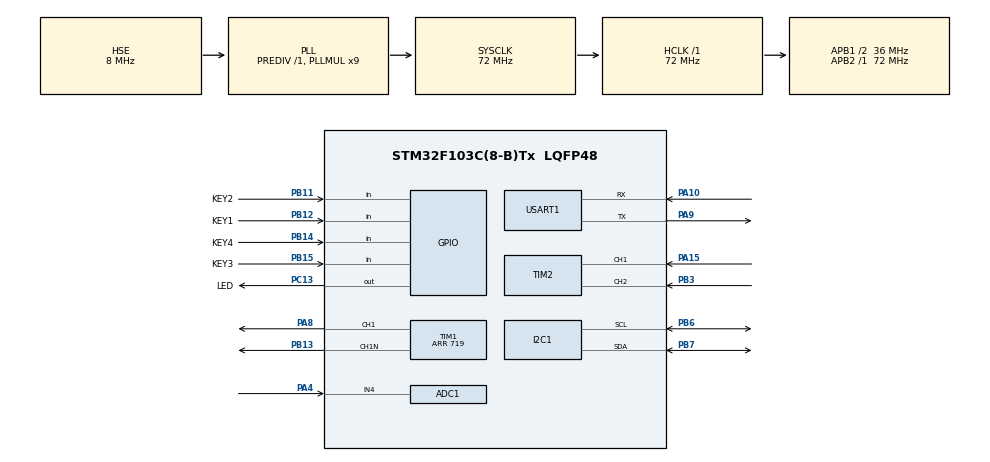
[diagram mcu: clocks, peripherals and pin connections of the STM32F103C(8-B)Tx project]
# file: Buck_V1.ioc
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ADC1.Channel-2\#ChannelRegularConversion=ADC_CHANNEL_4
ADC1.ExternalTrigConv=ADC_EXTERNALTRIGCONV_T1_CC3
ADC1.NbrOfConversionFlag=1
ADC1.Rank-2\#ChannelRegularConversion=1
ADC1.SamplingTime-2\#ChannelRegularConversion=ADC_SAMPLETIME_41CYCLES_5
ADC1.master=1
Dma.ADC1.0.Direction=DMA_PERIPH_TO_MEMORY
Dma.ADC1.0.Instance=DMA1_Channel1
Dma.ADC1.0.MemDataAlignment=DMA_MDATAALIGN_HALFWORD
Dma.ADC1.0.MemInc=DMA_MINC_ENABLE
Dma.ADC1.0.Mode=DMA_CIRCULAR
Dma.ADC1.0.PeriphDataAlignment=DMA_PDATAALIGN_HALFWORD
Dma.ADC1.0.PeriphInc=DMA_PINC_DISABLE
Dma.ADC1.0.Priority=DMA_PRIORITY_LOW
Dma.Request0=ADC1
I2C1.I2C_Mode=I2C_Fast
Mcu.Family=STM32F1
Mcu.Name=STM32F103C(8-B)Tx
Mcu.Package=LQFP48
NVIC.ADC1_2_IRQn=true\:0\:0\:false\:false\:true\:true\:true\:true
NVIC.DMA1_Channel1_IRQn=true\:0\:0\:false\:false\:true\:false\:true\:true
NVIC.PriorityGroup=NVIC_PRIORITYGROUP_4
NVIC.TIM3_IRQn=true\:0\:0\:false\:false\:true\:true\:true\:true
NVIC.TIM4_IRQn=true\:0\:0\:false\:false\:true\:true\:true\:true
NVIC.USART1_IRQn=true\:0\:0\:false\:false\:true\:true\:true\:true
PA10.Mode=Asynchronous
PA10.Signal=USART1_RX
PA13.Mode=Serial_Wire
PA13.Signal=SYS_JTMS-SWDIO
PA14.Mode=Serial_Wire
PA14.Signal=SYS_JTCK-SWCLK
PA15.Signal=S_TIM2_CH1_ETR
PA4.Signal=ADCx_IN4
PA8.Signal=S_TIM1_CH1
PA9.Mode=Asynchronous
PA9.Signal=USART1_TX
PB11.GPIO_Label=KEY2
PB11.GPIO_PuPd=GPIO_PULLUP
PB11.Signal=GPIO_Input
PB12.GPIO_Label=KEY1
PB12.GPIO_PuPd=GPIO_PULLUP
PB12.Signal=GPIO_Input
PB13.Mode=PWM Generation1 CH1 CH1N
PB13.Signal=TIM1_CH1N
PB14.GPIO_Label=KEY4
PB14.GPIO_PuPd=GPIO_PULLUP
PB14.Signal=GPIO_Input
PB15.GPIO_Label=KEY3
PB15.GPIO_PuPd=GPIO_PULLUP
PB15.Signal=GPIO_Input
PB3.Signal=S_TIM2_CH2
PB6.Mode=I2C
PB6.Signal=I2C1_SCL
PB7.Mode=I2C
PB7.Signal=I2C1_SDA
PC13-TAMPER-RTC.GPIO_Label=LED
PC13-TAMPER-RTC.Signal=GPIO_Output
PD0-OSC_IN.Mode=HSE-External-Oscillator
PD0-OSC_IN.Signal=RCC_OSC_IN
PD1-OSC_OUT.Mode=HSE-External-Oscillator
PD1-OSC_OUT.Signal=RCC_OSC_OUT
ProjectManager.HeapSize=0x200
ProjectManager.StackSize=0x400
ProjectManager.TargetToolchain=CMake
RCC.ADCPresc=RCC_ADCPCLK2_DIV6
RCC.AHBFreq_Value=72000000
RCC.APB1CLKDivider=RCC_HCLK_DIV2
RCC.APB1Freq_Value=36000000
RCC.APB1TimFreq_Value=72000000
RCC.APB2Freq_Value=72000000
RCC.APB2TimFreq_Value=72000000
RCC.HCLKFreq_Value=72000000
RCC.PLLMUL=RCC_PLL_MUL9
RCC.PLLSourceVirtual=RCC_PLLSOURCE_HSE
RCC.SYSCLKFreq_VALUE=72000000
RCC.SYSCLKSource=RCC_SYSCLKSOURCE_PLLCLK
RCC.USBFreq_Value=72000000
SH.ADCx_IN4.0=ADC1_IN4,IN4
SH.S_TIM1_CH1.0=TIM1_CH1,PWM Generation1 CH1 CH1N
SH.S_TIM2_CH1_ETR.0=TIM2_CH1,Encoder_Interface
SH.S_TIM2_CH2.0=TIM2_CH2,Encoder_Interface
TIM1.AutoReloadPreload=TIM_AUTORELOAD_PRELOAD_ENABLE
TIM1.Channel-PWM\ Generation1\ CH1\ CH1N=TIM_CHANNEL_1
TIM1.Channel-PWM\ Generation3\ No\ Output=TIM_CHANNEL_3
TIM1.DeadTime=8
TIM1.OCMode_PWM-PWM\ Generation3\ No\ Output=TIM_OCMODE_PWM2
TIM1.Period=719
TIM1.Pulse-PWM\ Generation1\ CH1\ CH1N=0
TIM1.Pulse-PWM\ Generation3\ No\ Output=1
TIM3.Period=9999
TIM3.Prescaler=71
TIM4.AutoReloadPreload=TIM_AUTORELOAD_PRELOAD_ENABLE
TIM4.Period=999
TIM4.Prescaler=71
USART1.VirtualMode=VM_ASYNC
VP_TIM1_VS_no_output3.Mode=PWM Generation3 No Output
VP_TIM3_VS_ClockSourceINT.Mode=Internal
VP_TIM4_VS_ClockSourceINT.Mode=Internal
board=custom

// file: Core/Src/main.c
/* USER CODE BEGIN Header */
/**
  ******************************************************************************
  * @file           : main.c
  * @brief          : Main program body
  ******************************************************************************
  * @attention
  *
  * Copyright (c) 2026 STMicroelectronics.
  * All rights reserved.
  *
  * This software is licensed under terms that can be found in the LICENSE file
  * in the root directory of this software component.
  * If no LICENSE file comes with this software, it is provided AS-IS.
  *
  ******************************************************************************
  */
/* USER CODE END Header */
#include "main.h"
#include "adc.h"
#include "dma.h"
#include "i2c.h"
#include "tim.h"
#include "usart.h"
#include "gpio.h"

/* USER CODE BEGIN Includes */
#include <math.h>

#include "oled.h"
#include "beep_led.h"
#include "key.h"
#include "encoder.h"
#include "buck_control.h"
#include "pid.h"
#include "blueSerial.h"

/* USER CODE END Includes */

/* USER CODE BEGIN PTD */
typedef enum {
  // 固定输出模式
  OUTPUT_MODE_PRESET,
  // 自定义输出模式
  OUTPUT_MODE_CUSTOM,
} SysOutState;

/* USER CODE END PTD */

/* USER CODE BEGIN PD */
/* 蓝牙滑杆ID定义 */
#define SLIDER_ID_TAR   1

/* USER CODE END PD */

/* USER CODE BEGIN PV */
int16_t encoderVlue;
float inputVoltage = 20.0f, voltageStep = 0.1f;
float currOut;

PID_t volt = {
  .Kp = 0.8f,
  .Ki = 0.05f,
  .Kd = 0.0f,

  .OutMax = 20.0f,
  .OutMin = 0.0f,
  .ErrorIntMax = 400.0f,
  .ErrorIntMin = 0.0f,
};

SysOutState sysMode = OUTPUT_MODE_CUSTOM;
// 0 表示旋钮控制 1 表示蓝牙滑杆控制
_Bool ctrlMode;

/* USER CODE END PV */

void SystemClock_Config(void);

/* USER CODE BEGIN 0 */
void oledProcess(void)
{
  if (volt.Target < 10.0f) {
    OLED_Printf(00, 28, OLED_8X16, "T:%-.2fV ", volt.Target);
  } else {
    OLED_Printf(00, 28, OLED_8X16, "T:%-.1fV ", volt.Target);
  }
  if (volt.Actual < 10.0f) {
    OLED_Printf(64, 28, OLED_8X16, "A:%-.2fV ", volt.Actual);
  } else {
    OLED_Printf(64, 28, OLED_8X16, "A:%-.1fV ", volt.Actual);
  }

  if (sysMode == OUTPUT_MODE_PRESET) {
    OLED_Printf(40, 00, OLED_8X16, "PRESET");
  } else if (sysMode == OUTPUT_MODE_CUSTOM) {
    OLED_Printf(40, 00, OLED_8X16, "CUSTOM");

    if (ctrlMode == 1) {
      OLED_Printf(00, 48, OLED_8X16, "Ctrl:BLE ");
    } else {
      OLED_Printf(00, 48, OLED_8X16, "Ctrl:KNOB");
    }
  }

  OLED_Update();
}

void keyProcess(void)
{
  if (Key_GetEvent(KEY1, KEY_EVENT_SINGLE)) {
    // 单击按键1
    sysMode = (SysOutState)((sysMode + 1) % 2);
    OLED_Clear();

    // 进入自定义输出模式 默认为旋钮控制
    if (sysMode == OUTPUT_MODE_CUSTOM) {
      ctrlMode = 0;
    } else if (sysMode == OUTPUT_MODE_PRESET) {
      volt.Target = 3.3f;
    }
  }

  if (Key_GetEvent(KEY2, KEY_EVENT_SINGLE)) {
    // 单击按键2
    if (sysMode == OUTPUT_MODE_PRESET) {
      volt.Target = 3.3f;
    }
  }

  if (Key_GetEvent(KEY3, KEY_EVENT_SINGLE)) {
    // 单击按键3
    if (sysMode == OUTPUT_MODE_PRESET) {
      volt.Target = 5.0f;
    }
  }

  if (Key_GetEvent(KEY4, KEY_EVENT_SINGLE)) {
    // 单击按键4
    if (sysMode == OUTPUT_MODE_PRESET) {
      volt.Target = 12.0f;
    } else if (sysMode == OUTPUT_MODE_CUSTOM) {
      ctrlMode = !ctrlMode;
    }
  }
}

void btProcess(void)
{
  BlueSerial_Packet_t packet;

  /* 读取并处理蓝牙数据包 */
  if (BlueSerial_GetPacket(&packet)) {
    if (packet.type == PACKET_SLIDER) {
      switch (packet.data.slider.id) {
        case SLIDER_ID_TAR:
          if (sysMode == OUTPUT_MODE_CUSTOM) {
            if (ctrlMode == 1) {
              volt.Target = packet.data.slider.value;
            }
          }
          break;

        default:
          break;
      }
    }
  }

  /* 每50ms发送一次plot数据 */
  static uint32_t btTick = 0;
  if (uwTick - btTick >= 50) {
    btTick = uwTick;
    BlueSerial_Printf("[plot,%.3f,%.3f]",
                      volt.Target, volt.Actual);
  }
}

void sysProcess(void)
{
  static _Bool ledState = 0, PLEDState = 1;

  encoderVlue = Encoder_GetCount();

  if (sysMode == OUTPUT_MODE_CUSTOM) {
    if (ctrlMode == 0) {
      volt.Target = encoderVlue * voltageStep;
    }
  }

  if (fabs(volt.Actual - volt.Target) > 0.5f) {
    ledState = 1;
  } else {
    ledState = 0;
  }

  if (ledState != PLEDState) {
    if (ledState == 1) {
      Device_SetMode(LED_INDEX, MODE_BLINK_FAST);
    } else {
      Device_SetMode(LED_INDEX, MODE_BLINK_SHORT);
    }
    PLEDState = ledState;
  }
}

/* USER CODE END 0 */

int main(void)
{

  /* MCU Configuration--------------------------------------------------------*/

  /* Reset of all peripherals, Initializes the Flash interface and the Systick. */
  HAL_Init();

  /* Configure the system clock */
  SystemClock_Config();

  /* USER CODE BEGIN SysInit */
  HAL_Delay(50);

  /* USER CODE END SysInit */

  /* Initialize all configured peripherals */
  MX_GPIO_Init();
  MX_DMA_Init();
  MX_I2C1_Init();
  MX_TIM4_Init();
  MX_TIM2_Init();
  MX_ADC1_Init();
  MX_TIM1_Init();
  MX_USART1_UART_Init();
  MX_TIM3_Init();
  /* USER CODE BEGIN 2 */
  OLED_Init(&hi2c1);
  Key_Init();
  Buck_Init();
  PID_Init(&volt);
  BlueSerial_Init(&huart1);
  Encoder_Init((uint16_t)(volt.OutMax / voltageStep));

  HAL_TIM_Base_Start_IT(&htim4);
  HAL_TIM_Base_Start_IT(&htim3);

  /* USER CODE END 2 */

  /* Infinite loop */
  /* USER CODE BEGIN WHILE */
  while (1)
  {
    oledProcess();
    keyProcess();
    btProcess();
    sysProcess();
    /* USER CODE END WHILE */

  }
}

void SystemClock_Config(void)
{
  RCC_OscInitTypeDef RCC_OscInitStruct = {0};
  RCC_ClkInitTypeDef RCC_ClkInitStruct = {0};
  RCC_PeriphCLKInitTypeDef PeriphClkInit = {0};

  /** Initializes the RCC Oscillators according to the specified parameters
  * in the RCC_OscInitTypeDef structure.
  */
  RCC_OscInitStruct.OscillatorType = RCC_OSCILLATORTYPE_HSE;
  RCC_OscInitStruct.HSEState = RCC_HSE_ON;
  RCC_OscInitStruct.HSEPredivValue = RCC_HSE_PREDIV_DIV1;
  RCC_OscInitStruct.HSIState = RCC_HSI_ON;
  RCC_OscInitStruct.PLL.PLLState = RCC_PLL_ON;
  RCC_OscInitStruct.PLL.PLLSource = RCC_PLLSOURCE_HSE;
  RCC_OscInitStruct.PLL.PLLMUL = RCC_PLL_MUL9;
  if (HAL_RCC_OscConfig(&RCC_OscInitStruct) != HAL_OK)
  {
    Error_Handler();
  }

  /** Initializes the CPU, AHB and APB buses clocks
  */
  RCC_ClkInitStruct.ClockType = RCC_CLOCKTYPE_HCLK|RCC_CLOCKTYPE_SYSCLK
                              |RCC_CLOCKTYPE_PCLK1|RCC_CLOCKTYPE_PCLK2;
  RCC_ClkInitStruct.SYSCLKSource = RCC_SYSCLKSOURCE_PLLCLK;
  RCC_ClkInitStruct.AHBCLKDivider = RCC_SYSCLK_DIV1;
  RCC_ClkInitStruct.APB1CLKDivider = RCC_HCLK_DIV2;
  RCC_ClkInitStruct.APB2CLKDivider = RCC_HCLK_DIV1;

  if (HAL_RCC_ClockConfig(&RCC_ClkInitStruct, FLASH_LATENCY_2) != HAL_OK)
  {
    Error_Handler();
  }
  PeriphClkInit.PeriphClockSelection = RCC_PERIPHCLK_ADC;
  PeriphClkInit.AdcClockSelection = RCC_ADCPCLK2_DIV6;
  if (HAL_RCCEx_PeriphCLKConfig(&PeriphClkInit) != HAL_OK)
  {
    Error_Handler();
  }
}

/* USER CODE BEGIN 4 */
void HAL_TIM_PeriodElapsedCallback(TIM_HandleTypeDef *htim)
{
  if (htim->Instance == TIM3) {
    // 如果 DMA 已完成一轮 10 次采样，读取平均电压并运行 PID
    if (Buck_ReadVoltageCurrent(&volt.Actual, &currOut)) {
      PID_Update(&volt);
      Buck_SetOutputVoltage(volt.Out);
    }
  }

  if (htim->Instance == TIM4) {
    Device_Tick();
    Key_Tick();
  }
}

void HAL_UARTEx_RxEventCallback(UART_HandleTypeDef *huart, uint16_t Size)
{
  if (huart->Instance == USART1) {
    BlueSerial_RxEventCallback(huart, Size);
  }
}

/* USER CODE END 4 */

void Error_Handler(void)
{
  __disable_irq();
  while (1)
  {
  }
}
